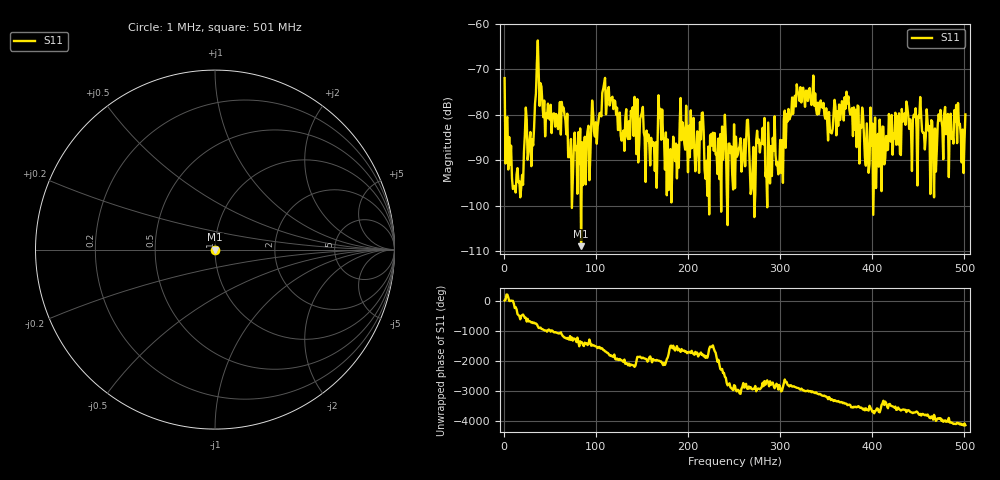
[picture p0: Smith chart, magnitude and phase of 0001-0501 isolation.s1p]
! NanoVNA-App by SYSJOINT et al v1.1.209 (+OD18)
! Date: 2025-09-17 10:01:50
! Start: 1MHz Stop: 501MHz Points: 501
! S-Parameter data: F S11
# Hz S RI R 50
!  Frequency  S11_Real  S11_Imag
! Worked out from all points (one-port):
!   501 points, 1 MHz to 501 MHz, reference 50 ohm
!   lowest |S11| = -108.9 dB at 84 MHz (marker M1), VSWR 1.00, Z = 50 + j0.0003 ohm
!   |S11| at or under -10 dB: start of sweep to end of sweep
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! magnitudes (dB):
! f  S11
! 1 MHz  -71.9
! 4 MHz  -80.5
! 31 MHz  -85.4
! 33 MHz  -82.9
! 36 MHz  -68.7
! 38 MHz  -70.6
! 41 MHz  -73.8
! 45 MHz  -84.8
! 64 MHz  -79.0
! 84 MHz  -108.9
! 104 MHz  -79.6
! 109 MHz  -73.0
! 126 MHz  -79.5
! 144 MHz  -88.7
! 189 MHz  -86.8
! 251 MHz  -96.2
! 310 MHz  -81.0
! 314 MHz  -79.8
! 320 MHz  -75.3
! 334 MHz  -77.8
! 341 MHz  -77.3
! 345 MHz  -78.2
! 350 MHz  -78.6
! 364 MHz  -77.7
! 372 MHz  -74.9
! 376 MHz  -80.0
! 439 MHz  -80.3
! 501 MHz  -79.9
